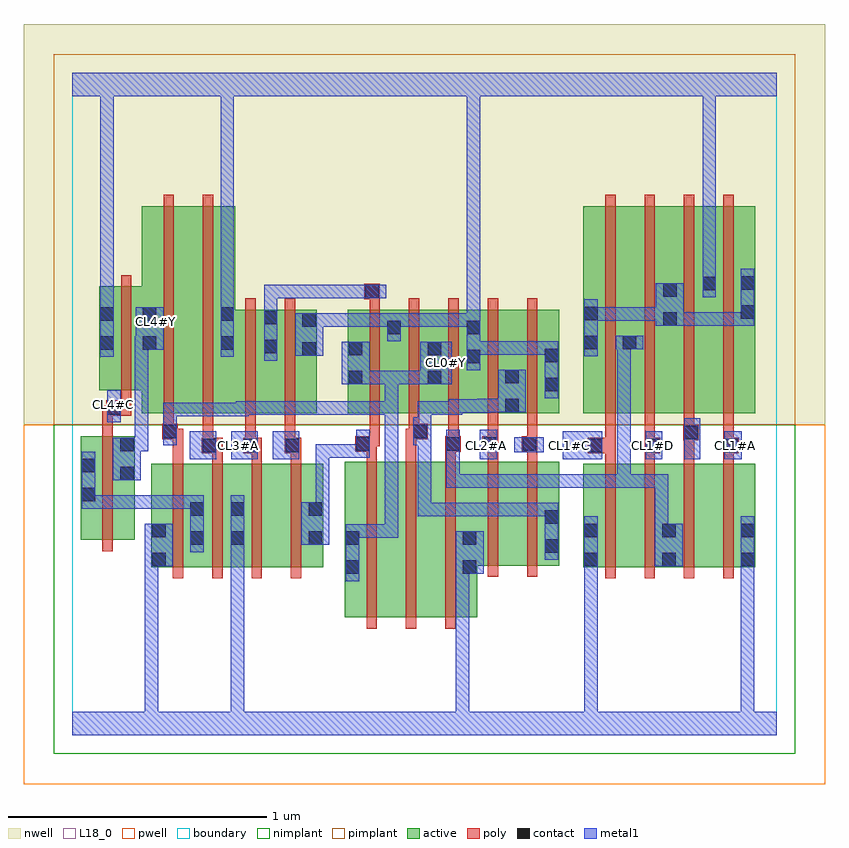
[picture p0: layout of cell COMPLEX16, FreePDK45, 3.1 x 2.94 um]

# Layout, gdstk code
import gdstk
lib = gdstk.Library(unit=1e-6, precision=1e-09)
def R(c, l, rs):  # rectangles x0, y0, x1, y1
    for r in rs: c.add(gdstk.rectangle(r[:2], r[2:], *l))
def A(c, l, x, y, w, h, nx, ny, dx, dy):  # array of equal rectangles
    R(c, l, [(x+i*dx, y+j*dy, x+i*dx+w, y+j*dy+h) for i in range(nx) for j in range(ny)])
active = (1, 0)
pwell = (2, 0)
nwell = (3, 0)
nimplant = (4, 0)
pimplant = (5, 0)
poly = (9, 0)
contact = (10, 0)
metal1 = (11, 0)
L18_0 = (18, 0)
boundary = (235, 0)

complex16 = lib.new_cell('COMPLEX16')
R(complex16, active, [(1.052,0.456,1.232,1.056), (1.232,0.456,1.384,1.056), (1.384,0.456,1.564,1.056), (1.504,0.456,1.564,0.952), (1.052,0.556,1.112,1.056), (0.304,0.65,0.512,1.05), (0.304,0.65,0.364,0.948), (0.452,0.65,0.512,1.05), (0.452,0.65,0.668,1.05), (0.608,0.65,0.668,1.05), (0.608,0.65,0.788,1.05), (0.788,0.65,0.968,1.05), (0.908,0.65,0.968,1.05), (1.974,0.65,2.034,1.05), (1.974,0.65,2.154,1.05), (2.154,0.65,2.334,1.05), (2.274,0.65,2.334,1.05), (2.274,0.65,2.458,1.05), (2.458,0.65,2.638,1.05), (2.578,0.65,2.638,1.05), (1.504,0.656,1.7,1.056), (1.7,0.656,1.88,1.056), (1.82,0.656,1.88,1.056), (0.032,0.756,0.092,1.156), (0.032,0.756,0.24,1.156), (0.18,0.756,0.24,1.156), (0.268,1.244,0.448,2.044), (0.448,1.244,0.628,2.044), (0.568,1.244,0.628,2.044), (0.568,1.244,0.796,1.644), (0.736,1.244,0.796,1.644), (0.736,1.244,0.944,1.644), (0.884,1.244,0.944,1.644), (1.064,1.244,1.124,1.644), (1.064,1.244,1.272,1.644), (1.212,1.244,1.272,1.644), (1.212,1.244,1.428,1.644), (1.368,1.244,1.428,1.644), (1.368,1.244,1.58,1.644), (1.52,1.244,1.58,1.644), (1.52,1.244,1.728,1.644), (1.668,1.244,1.728,1.644), (1.668,1.244,1.88,1.644), (1.82,1.244,1.88,1.644), (1.974,1.244,2.034,2.044), (1.974,1.244,2.182,2.044), (2.122,1.244,2.182,2.044), (2.122,1.244,2.338,2.044), (2.278,1.244,2.338,2.044), (2.278,1.244,2.49,2.044), (2.43,1.244,2.49,2.044), (2.43,1.244,2.638,2.044), (2.578,1.244,2.638,2.044), (0.104,1.334,0.164,1.734), (0.104,1.334,0.328,1.734), (0.268,1.334,0.328,2.044)])
R(complex16, pwell, [(-0.188,-0.188,2.908,1.2)])
R(complex16, nwell, [(-0.188,1.2,2.908,2.748)])
R(complex16, nimplant, [(-0.072,-0.072,2.792,1.2)])
R(complex16, pimplant, [(-0.072,1.2,2.792,2.632)])
A(complex16, poly, 1.136, 0.412, 0.04, 0.688, 3, 1, 0.152, 0)
A(complex16, poly, 0.388, 0.606, 0.04, 0.488, 4, 1, 0.152, 0)
A(complex16, poly, 2.058, 0.606, 0.04, 0.488, 4, 1, 0.152, 0)
A(complex16, poly, 0.54, 1.054, 0.04, 0.076, 3, 1, 0.152, 0)
A(complex16, poly, 1.452, 1.116, 0.04, 0.124, 3, 1, 0.152, 0)
A(complex16, poly, 1.148, 1.2, 0.04, 0.488, 5, 1, 0.152, 0)
A(complex16, poly, 2.058, 1.2, 0.04, 0.888, 4, 1, 0.152, 0)
R(complex16, poly, [(1.604,0.612,1.644,1.1), (1.756,0.612,1.796,1.1), (0.116,0.712,0.156,1.2), (0.388,1.054,0.428,1.184), (2.058,1.054,2.098,1.13), (2.21,1.054,2.25,1.13), (2.362,1.054,2.402,1.18), (2.514,1.054,2.554,1.13), (1.136,1.06,1.176,1.136), (1.288,1.06,1.328,1.184), (1.44,1.06,1.48,1.136), (1.604,1.06,1.644,1.136), (1.756,1.06,1.796,1.136), (0.5,1.09,0.58,1.15), (0.66,1.09,0.732,1.15), (0.82,1.09,0.884,1.15), (1.99,1.09,2.098,1.15), (2.058,1.09,2.098,1.13), (2.058,1.09,2.098,1.13), (2.21,1.09,2.25,1.13), (2.21,1.09,2.25,1.13), (2.21,1.09,2.27,1.15), (2.514,1.09,2.574,1.15), (1.092,1.096,1.176,1.156), (1.44,1.096,1.5,1.156), (1.584,1.096,1.644,1.156), (1.604,1.096,1.644,1.136), (1.604,1.096,1.644,1.136), (1.736,1.096,1.796,1.156), (1.756,1.096,1.796,1.136), (1.756,1.096,1.796,1.136), (0.504,1.11,0.544,1.24), (0.504,1.11,0.544,1.15), (0.504,1.11,0.544,1.15), (0.668,1.11,0.708,1.24), (0.668,1.11,0.708,1.15), (0.668,1.11,0.708,1.15), (0.82,1.11,0.86,1.24), (0.82,1.11,0.86,1.15), (0.82,1.11,0.86,1.15), (2.058,1.11,2.098,1.24), (2.21,1.11,2.25,1.24), (2.514,1.11,2.554,1.24), (2.514,1.11,2.554,1.15), (2.514,1.11,2.554,1.15), (1.136,1.116,1.176,1.156), (1.136,1.116,1.188,1.156), (1.148,1.116,1.188,1.24), (1.452,1.116,1.492,1.156), (1.452,1.116,1.492,1.156), (2.36,1.14,2.42,1.2), (0.346,1.144,0.406,1.204), (0.366,1.144,0.406,1.184), (0.366,1.144,0.428,1.184), (1.288,1.144,1.34,1.184), (1.3,1.144,1.34,1.184), (1.3,1.144,1.372,1.204), (0.116,1.16,0.156,1.274), (2.362,1.16,2.402,1.2), (2.362,1.16,2.402,1.2), (2.362,1.16,2.402,1.24), (0.352,1.164,0.392,1.24), (1.3,1.164,1.34,1.24), (0.352,1.2,0.392,2.088), (0.504,1.2,0.544,2.088), (0.668,1.2,0.708,1.688), (0.82,1.2,0.86,1.688), (0.116,1.234,0.17,1.274), (0.13,1.234,0.17,1.274), (0.13,1.234,0.228,1.294), (0.188,1.254,0.228,1.33), (0.188,1.29,0.228,1.778), (1.148,1.648,1.188,1.724), (1.128,1.684,1.188,1.744)])
A(complex16, contact, 0.504, 1.094, 0.052, 0.052, 3, 1, 0.16, 0)
R(complex16, contact, [(1.056,0.624,1.108,0.676), (1.508,0.624,1.56,0.676), (0.308,0.654,0.36,0.706), (1.978,0.654,2.03,0.706), (2.278,0.654,2.33,0.706), (2.582,0.654,2.634,0.706), (1.824,0.706,1.876,0.758), (0.456,0.736,0.508,0.788), (0.612,0.736,0.664,0.788), (0.912,0.736,0.964,0.788), (1.056,0.736,1.108,0.788), (1.508,0.736,1.56,0.788), (0.308,0.766,0.36,0.818), (1.978,0.766,2.03,0.818), (2.278,0.766,2.33,0.818), (2.582,0.766,2.634,0.818), (1.824,0.818,1.876,0.87), (0.456,0.848,0.508,0.9), (0.612,0.848,0.664,0.9), (0.912,0.848,0.964,0.9), (0.036,0.904,0.088,0.956), (0.184,0.986,0.236,1.038), (0.036,1.016,0.088,1.068), (1.994,1.094,2.046,1.146), (2.214,1.094,2.266,1.146), (2.518,1.094,2.57,1.146), (0.184,1.098,0.236,1.15), (1.096,1.1,1.148,1.152), (1.444,1.1,1.496,1.152), (1.588,1.1,1.64,1.152), (1.74,1.1,1.792,1.152), (2.364,1.144,2.416,1.196), (0.35,1.148,0.402,1.2), (1.316,1.148,1.368,1.2), (0.134,1.238,0.186,1.29), (1.672,1.248,1.724,1.3), (1.824,1.33,1.876,1.382), (1.068,1.356,1.12,1.408), (1.372,1.356,1.424,1.408), (1.672,1.36,1.724,1.412), (1.524,1.438,1.576,1.49), (1.824,1.442,1.876,1.494), (0.888,1.466,0.94,1.518), (1.068,1.468,1.12,1.52), (1.372,1.468,1.424,1.52), (0.74,1.476,0.792,1.528), (0.108,1.49,0.16,1.542), (0.272,1.49,0.324,1.542), (0.572,1.49,0.624,1.542), (1.978,1.492,2.03,1.544), (2.126,1.492,2.178,1.544), (1.216,1.55,1.268,1.602), (1.524,1.55,1.576,1.602), (0.888,1.578,0.94,1.63), (2.282,1.582,2.334,1.634), (0.74,1.588,0.792,1.64), (0.108,1.602,0.16,1.654), (0.272,1.602,0.324,1.654), (0.572,1.602,0.624,1.654), (1.978,1.604,2.03,1.656), (2.582,1.61,2.634,1.662), (1.132,1.688,1.184,1.74), (2.282,1.694,2.334,1.746), (2.434,1.72,2.486,1.772), (2.582,1.722,2.634,1.774)])
A(complex16, metal1, 1.454, 0.846, 0.052, 0.052, 3, 1, 0.11, 0)
A(complex16, metal1, 0.454, 1.066, 0.102, 0.108, 3, 1, 0.16, 0)
R(complex16, metal1, [(0,0,2.72,0.092), (0.28,0.04,0.332,0.092), (0.28,0.04,0.332,0.092), (0.28,0.04,0.332,0.092), (0.28,0.04,0.332,0.092), (0.28,0.04,0.332,0.092), (0.28,0.04,0.332,0.092), (0.28,0.04,0.332,0.092), (0.28,0.04,0.332,0.092), (0.28,0.04,0.332,0.092), (0.28,0.04,0.332,0.092), (0.28,0.04,0.332,0.706), (0.612,0.04,0.664,0.092), (0.612,0.04,0.664,0.092), (0.612,0.04,0.664,0.092), (0.612,0.04,0.664,0.092), (0.612,0.04,0.664,0.092), (0.612,0.04,0.664,0.092), (0.612,0.04,0.664,0.092), (0.612,0.04,0.664,0.092), (0.612,0.04,0.664,0.76), (1.48,0.04,1.532,0.092), (1.48,0.04,1.532,0.092), (1.48,0.04,1.532,0.092), (1.48,0.04,1.532,0.092), (1.48,0.04,1.532,0.092), (1.48,0.04,1.532,0.092), (1.48,0.04,1.532,0.092), (1.48,0.04,1.532,0.092), (1.48,0.04,1.532,0.676), (1.978,0.04,2.03,0.092), (1.978,0.04,2.03,0.092), (1.978,0.04,2.03,0.092), (1.978,0.04,2.03,0.092), (1.978,0.04,2.03,0.092), (1.978,0.04,2.03,0.092), (1.978,0.04,2.03,0.678), (2.582,0.04,2.634,0.092), (2.582,0.04,2.634,0.092), (2.582,0.04,2.634,0.092), (2.582,0.04,2.634,0.092), (2.582,0.04,2.634,0.092), (2.582,0.04,2.634,0.092), (2.582,0.04,2.634,0.678), (1.056,0.596,1.108,0.816), (1.48,0.624,1.588,0.788), (1.978,0.626,2.03,0.678), (1.978,0.626,2.03,0.678), (1.978,0.626,2.03,0.678), (1.978,0.626,2.03,0.678), (1.978,0.626,2.03,0.678), (1.978,0.626,2.03,0.678), (1.978,0.626,2.03,0.846), (2.582,0.626,2.634,0.678), (2.582,0.626,2.634,0.678), (2.582,0.626,2.634,0.678), (2.582,0.626,2.634,0.678), (2.582,0.626,2.634,0.678), (2.582,0.626,2.634,0.678), (2.582,0.626,2.634,0.846), (0.28,0.654,0.332,0.706), (0.28,0.654,0.332,0.706), (0.28,0.654,0.388,0.818), (2.25,0.654,2.358,0.818), (1.824,0.678,1.876,0.898), (0.456,0.708,0.508,0.928), (0.612,0.708,0.664,0.76), (0.612,0.708,0.664,0.76), (0.612,0.708,0.664,0.76), (0.612,0.708,0.664,0.76), (0.612,0.708,0.664,0.928), (0.884,0.736,0.992,0.9), (1.056,0.764,1.108,0.816), (1.056,0.764,1.108,0.816), (1.056,0.764,1.258,0.816), (1.206,0.764,1.258,0.816), (1.206,0.764,1.258,1.29), (2.25,0.766,2.302,1.008), (1.334,0.846,1.386,0.898), (1.334,0.846,1.506,0.898), (1.334,0.846,1.386,1.228), (1.454,0.846,1.506,0.898), (1.454,0.846,1.506,0.898), (1.454,0.846,1.616,0.898), (1.564,0.846,1.726,0.898), (1.674,0.846,1.726,0.898), (1.674,0.846,1.726,0.898), (1.674,0.846,1.876,0.898), (0.94,0.848,0.992,1.124), (0.036,0.876,0.088,0.928), (0.036,0.876,0.088,0.928), (0.036,0.876,0.088,1.096), (0.036,0.876,0.198,0.928), (0.146,0.876,0.198,0.928), (0.146,0.876,0.398,0.928), (0.346,0.876,0.398,0.928), (0.346,0.876,0.398,0.928), (0.346,0.876,0.398,0.928), (0.346,0.876,0.508,0.928), (1.444,0.956,1.616,1.008), (1.444,0.956,1.496,1.124), (1.564,0.956,1.616,1.008), (1.564,0.956,1.726,1.008), (1.674,0.956,1.726,1.008), (1.674,0.956,1.726,1.008), (1.674,0.956,1.726,1.008), (1.674,0.956,1.836,1.008), (1.784,0.956,1.836,1.008), (1.784,0.956,1.836,1.008), (1.784,0.956,1.836,1.008), (1.784,0.956,2.046,1.008), (1.994,0.956,2.046,1.008), (1.994,0.956,2.156,1.008), (2.104,0.956,2.156,1.008), (2.104,0.956,2.156,1.008), (2.104,0.956,2.156,1.008), (2.104,0.956,2.156,1.008), (2.104,0.956,2.156,1.008), (2.104,0.956,2.302,1.008), (2.104,0.956,2.156,1.544), (2.25,0.956,2.302,1.008), (0.156,0.986,0.264,1.15), (1.574,1.066,1.64,1.18), (1.894,1.066,2.046,1.174), (2.214,1.066,2.278,1.174), (2.364,1.066,2.426,1.224), (2.518,1.066,2.586,1.174), (0.94,1.072,0.992,1.124), (0.94,1.072,1.148,1.124), (1.096,1.072,1.148,1.124), (1.096,1.072,1.148,1.124), (1.096,1.072,1.148,1.18), (1.444,1.072,1.496,1.124), (1.444,1.072,1.496,1.18), (1.706,1.094,1.82,1.152), (0.212,1.098,0.264,1.15), (0.212,1.098,0.292,1.15), (0.24,1.098,0.292,1.542), (0.35,1.12,0.402,1.284), (1.316,1.12,1.368,1.228), (1.316,1.176,1.386,1.228), (1.334,1.176,1.386,1.228), (1.334,1.176,1.386,1.228), (1.334,1.176,1.386,1.29), (0.134,1.21,0.186,1.334), (0.35,1.232,0.514,1.284), (0.462,1.232,0.514,1.284), (0.462,1.232,0.514,1.284), (0.462,1.232,0.514,1.284), (0.462,1.232,0.682,1.284), (0.63,1.232,0.682,1.284), (0.63,1.232,0.682,1.284), (0.63,1.232,0.682,1.29), (0.63,1.238,0.802,1.29), (0.75,1.238,0.802,1.29), (0.75,1.238,0.802,1.29), (0.75,1.238,0.802,1.29), (0.75,1.238,0.986,1.29), (0.934,1.238,0.986,1.29), (0.934,1.238,0.986,1.29), (0.934,1.238,0.986,1.29), (0.934,1.238,1.258,1.29), (1.206,1.238,1.258,1.29), (1.206,1.238,1.258,1.29), (1.206,1.238,1.258,1.29), (1.206,1.238,1.258,1.29), (1.206,1.238,1.258,1.29), (1.206,1.238,1.258,1.408), (1.334,1.238,1.506,1.29), (1.454,1.238,1.506,1.29), (1.454,1.238,1.506,1.29), (1.454,1.238,1.506,1.29), (1.454,1.238,1.506,1.298), (1.454,1.246,1.506,1.298), (1.454,1.246,1.616,1.298), (1.564,1.246,1.616,1.3), (1.564,1.248,1.696,1.3), (1.644,1.248,1.752,1.412), (1.824,1.302,1.876,1.522), (1.04,1.356,1.148,1.52), (1.096,1.356,1.258,1.408), (1.206,1.356,1.258,1.408), (1.206,1.356,1.258,1.408), (1.206,1.356,1.258,1.408), (1.206,1.356,1.386,1.408), (1.334,1.356,1.386,1.408), (1.334,1.356,1.396,1.408), (1.344,1.356,1.396,1.408), (1.344,1.356,1.396,1.408), (1.344,1.356,1.466,1.52), (1.524,1.41,1.576,1.63), (0.74,1.448,0.792,1.668), (0.108,1.462,0.16,1.682), (0.572,1.462,0.624,1.682), (1.978,1.464,2.03,1.684), (0.86,1.466,0.968,1.63), (1.524,1.47,1.616,1.522), (1.564,1.47,1.616,1.522), (1.564,1.47,1.726,1.522), (1.674,1.47,1.726,1.522), (1.674,1.47,1.726,1.522), (1.674,1.47,1.726,1.522), (1.674,1.47,1.876,1.522), (0.24,1.49,0.292,1.542), (0.24,1.49,0.292,1.542), (0.24,1.49,0.296,1.542), (0.244,1.49,0.296,1.542), (0.244,1.49,0.296,1.542), (0.244,1.49,0.296,1.542), (0.244,1.49,0.296,1.542), (0.244,1.49,0.296,1.542), (0.244,1.49,0.352,1.654), (2.098,1.492,2.206,1.544), (1.216,1.522,1.268,1.63), (0.916,1.578,1.102,1.63), (1.05,1.578,1.102,1.63), (1.05,1.578,1.102,1.63), (1.05,1.578,1.102,1.63), (1.05,1.578,1.268,1.63), (1.216,1.578,1.378,1.63), (1.326,1.578,1.378,1.63), (1.326,1.578,1.378,1.63), (1.326,1.578,1.378,1.63), (1.326,1.578,1.496,1.63), (1.444,1.578,1.496,1.63), (1.444,1.578,1.576,1.63), (1.524,1.578,1.576,1.63), (1.524,1.578,1.576,1.63), (1.524,1.578,1.576,2.52), (2.254,1.582,2.362,1.746), (2.31,1.582,2.362,1.634), (2.31,1.582,2.362,1.634), (2.31,1.582,2.362,1.634), (2.31,1.582,2.362,1.634), (2.31,1.582,2.362,1.634), (2.31,1.582,2.362,1.634), (2.31,1.582,2.524,1.634), (2.472,1.582,2.524,1.634), (2.472,1.582,2.634,1.634), (2.582,1.582,2.634,1.634), (2.582,1.582,2.634,1.634), (2.582,1.582,2.634,1.802), (1.978,1.602,2.03,1.654), (1.978,1.602,2.03,1.654), (1.978,1.602,2.192,1.654), (2.14,1.602,2.192,1.654), (2.14,1.602,2.192,1.654), (2.14,1.602,2.192,1.654), (2.14,1.602,2.306,1.654), (0.74,1.616,0.792,1.74), (0.108,1.63,0.16,2.52), (0.572,1.63,0.624,2.52), (0.74,1.688,0.792,1.74), (0.74,1.688,0.792,1.74), (0.74,1.688,0.792,1.74), (0.74,1.688,0.992,1.74), (0.94,1.688,0.992,1.74), (0.94,1.688,0.992,1.74), (0.94,1.688,0.992,1.74), (0.94,1.688,1.156,1.74), (1.104,1.688,1.212,1.74), (2.434,1.692,2.486,1.8), (2.434,1.748,2.486,1.8), (2.434,1.748,2.486,1.8), (2.434,1.748,2.486,1.8), (2.434,1.748,2.486,1.8), (2.434,1.748,2.486,2.52), (0,2.468,2.72,2.56), (0.108,2.468,0.16,2.52), (0.108,2.468,0.16,2.52), (0.108,2.468,0.16,2.52), (0.108,2.468,0.16,2.52), (0.108,2.468,0.16,2.52), (0.108,2.468,0.16,2.52), (0.108,2.468,0.16,2.52), (0.108,2.468,0.16,2.52), (0.108,2.468,0.16,2.52), (0.108,2.468,0.16,2.52), (0.108,2.468,0.16,2.52), (0.108,2.468,0.16,2.52), (0.108,2.468,0.16,2.52), (0.108,2.468,0.16,2.52), (0.108,2.468,0.16,2.52), (0.108,2.468,0.16,2.52), (0.572,2.468,0.624,2.52), (0.572,2.468,0.624,2.52), (0.572,2.468,0.624,2.52), (0.572,2.468,0.624,2.52), (0.572,2.468,0.624,2.52), (0.572,2.468,0.624,2.52), (0.572,2.468,0.624,2.52), (0.572,2.468,0.624,2.52), (1.524,2.468,1.576,2.52), (1.524,2.468,1.576,2.52), (1.524,2.468,1.576,2.52), (1.524,2.468,1.576,2.52), (1.524,2.468,1.576,2.52), (1.524,2.468,1.576,2.52), (1.524,2.468,1.576,2.52), (1.524,2.468,1.576,2.52), (1.524,2.468,1.576,2.52), (1.524,2.468,1.576,2.52), (1.524,2.468,1.576,2.52), (1.524,2.468,1.576,2.52), (1.524,2.468,1.576,2.52), (1.524,2.468,1.576,2.52), (2.434,2.468,2.486,2.52), (2.434,2.468,2.486,2.52), (2.434,2.468,2.486,2.52), (2.434,2.468,2.486,2.52)])
A(complex16, L18_0, 0.454, 1.066, 0.102, 0.108, 3, 1, 0.16, 0)
A(complex16, L18_0, 0.454, 1.094, 0.052, 0.052, 3, 1, 0.16, 0)
A(complex16, L18_0, 1.574, 1.094, 0.052, 0.052, 3, 1, 0.16, 0)
A(complex16, L18_0, 2.214, 1.094, 0.052, 0.052, 3, 1, 0.16, 0)
R(complex16, L18_0, [(0,0,2.72,0.092), (0.28,0.04,0.332,0.092), (0.28,0.04,0.332,0.092), (0.28,0.04,0.332,0.092), (0.28,0.04,0.332,0.092), (0.28,0.04,0.332,0.092), (0.28,0.04,0.332,0.092), (0.28,0.04,0.332,0.092), (0.28,0.04,0.332,0.092), (0.28,0.04,0.332,0.092), (0.28,0.04,0.332,0.092), (0.28,0.04,0.332,0.706), (0.612,0.04,0.664,0.092), (0.612,0.04,0.664,0.092), (0.612,0.04,0.664,0.092), (0.612,0.04,0.664,0.092), (0.612,0.04,0.664,0.092), (0.612,0.04,0.664,0.092), (0.612,0.04,0.664,0.092), (0.612,0.04,0.664,0.092), (0.612,0.04,0.664,0.76), (1.48,0.04,1.532,0.092), (1.48,0.04,1.532,0.092), (1.48,0.04,1.532,0.092), (1.48,0.04,1.532,0.092), (1.48,0.04,1.532,0.092), (1.48,0.04,1.532,0.092), (1.48,0.04,1.532,0.092), (1.48,0.04,1.532,0.092), (1.48,0.04,1.532,0.676), (1.978,0.04,2.03,0.092), (1.978,0.04,2.03,0.092), (1.978,0.04,2.03,0.092), (1.978,0.04,2.03,0.092), (1.978,0.04,2.03,0.092), (1.978,0.04,2.03,0.092), (1.978,0.04,2.03,0.678), (2.582,0.04,2.634,0.092), (2.582,0.04,2.634,0.092), (2.582,0.04,2.634,0.092), (2.582,0.04,2.634,0.092), (2.582,0.04,2.634,0.092), (2.582,0.04,2.634,0.092), (2.582,0.04,2.634,0.678), (1.056,0.596,1.108,0.816), (1.48,0.624,1.588,0.788), (1.978,0.626,2.03,0.846), (1.978,0.626,2.03,0.678), (1.978,0.626,2.03,0.678), (1.978,0.626,2.03,0.678), (1.978,0.626,2.03,0.678), (1.978,0.626,2.03,0.678), (1.978,0.626,2.03,0.678), (2.582,0.626,2.634,0.846), (2.582,0.626,2.634,0.678), (2.582,0.626,2.634,0.678), (2.582,0.626,2.634,0.678), (2.582,0.626,2.634,0.678), (2.582,0.626,2.634,0.678), (2.582,0.626,2.634,0.678), (0.28,0.654,0.332,0.706), (0.28,0.654,0.332,0.706), (0.28,0.654,0.388,0.818), (0.612,0.708,0.664,0.928), (0.612,0.708,0.664,0.76), (0.612,0.708,0.664,0.76), (0.612,0.708,0.664,0.76), (0.612,0.708,0.664,0.76), (1.056,0.764,1.108,0.816), (1.056,0.764,1.108,0.816), (1.056,0.764,1.258,0.816), (1.206,0.764,1.258,0.816), (1.206,0.764,1.258,1.29), (0.156,0.986,0.264,1.15), (1.574,1.066,1.64,1.18), (1.894,1.066,2.046,1.174), (2.214,1.066,2.278,1.174), (2.364,1.066,2.426,1.224), (2.518,1.066,2.586,1.174), (1.706,1.094,1.82,1.152), (0.212,1.098,0.264,1.15), (0.212,1.098,0.292,1.15), (0.24,1.098,0.292,1.542), (0.35,1.12,0.402,1.284), (0.134,1.21,0.186,1.334), (0.35,1.232,0.514,1.284), (0.462,1.232,0.514,1.284), (0.462,1.232,0.514,1.284), (0.462,1.232,0.514,1.284), (0.462,1.232,0.682,1.284), (0.63,1.232,0.682,1.284), (0.63,1.232,0.682,1.284), (0.63,1.232,0.682,1.29), (0.63,1.238,0.802,1.29), (0.75,1.238,0.802,1.29), (0.75,1.238,0.802,1.29), (0.75,1.238,0.802,1.29), (0.75,1.238,0.986,1.29), (0.934,1.238,0.986,1.29), (0.934,1.238,0.986,1.29), (0.934,1.238,0.986,1.29), (0.934,1.238,1.258,1.29), (1.206,1.238,1.258,1.29), (1.206,1.238,1.258,1.29), (1.206,1.238,1.258,1.29), (1.206,1.238,1.258,1.29), (1.206,1.238,1.258,1.29), (1.206,1.238,1.258,1.408), (0.134,1.254,0.186,1.306), (1.824,1.302,1.876,1.522), (1.04,1.356,1.148,1.52), (1.096,1.356,1.258,1.408), (1.206,1.356,1.258,1.408), (1.206,1.356,1.258,1.408), (1.206,1.356,1.258,1.408), (1.206,1.356,1.386,1.408), (1.334,1.356,1.386,1.408), (1.334,1.356,1.396,1.408), (1.344,1.356,1.396,1.408), (1.344,1.356,1.396,1.408), (1.344,1.356,1.466,1.52), (1.524,1.41,1.576,1.63), (1.414,1.414,1.466,1.466), (0.108,1.462,0.16,1.682), (0.572,1.462,0.624,1.682), (0.86,1.466,0.968,1.63), (1.524,1.47,1.616,1.522), (1.564,1.47,1.616,1.522), (1.564,1.47,1.726,1.522), (1.674,1.47,1.726,1.522), (1.674,1.47,1.726,1.522), (1.674,1.47,1.726,1.522), (1.674,1.47,1.876,1.522), (0.24,1.49,0.292,1.542), (0.24,1.49,0.292,1.542), (0.24,1.49,0.296,1.542), (0.244,1.49,0.296,1.542), (0.244,1.49,0.296,1.542), (0.244,1.49,0.296,1.542), (0.244,1.49,0.296,1.542), (0.244,1.49,0.296,1.542), (0.244,1.49,0.352,1.654), (1.216,1.522,1.268,1.63), (0.294,1.574,0.346,1.626), (0.916,1.578,1.102,1.63), (1.05,1.578,1.102,1.63), (1.05,1.578,1.102,1.63), (1.05,1.578,1.102,1.63), (1.05,1.578,1.268,1.63), (1.216,1.578,1.378,1.63), (1.326,1.578,1.378,1.63), (1.326,1.578,1.378,1.63), (1.326,1.578,1.378,1.63), (1.326,1.578,1.496,1.63), (1.444,1.578,1.496,1.63), (1.444,1.578,1.576,1.63), (1.524,1.578,1.576,1.63), (1.524,1.578,1.576,1.63), (1.524,1.578,1.576,2.52), (0.108,1.63,0.16,2.52), (0.572,1.63,0.624,2.52), (2.434,1.692,2.486,1.8), (2.434,1.748,2.486,1.8), (2.434,1.748,2.486,1.8), (2.434,1.748,2.486,1.8), (2.434,1.748,2.486,1.8), (2.434,1.748,2.486,2.52), (0,2.468,2.72,2.56), (0.108,2.468,0.16,2.52), (0.108,2.468,0.16,2.52), (0.108,2.468,0.16,2.52), (0.108,2.468,0.16,2.52), (0.108,2.468,0.16,2.52), (0.108,2.468,0.16,2.52), (0.108,2.468,0.16,2.52), (0.108,2.468,0.16,2.52), (0.108,2.468,0.16,2.52), (0.108,2.468,0.16,2.52), (0.108,2.468,0.16,2.52), (0.108,2.468,0.16,2.52), (0.108,2.468,0.16,2.52), (0.108,2.468,0.16,2.52), (0.108,2.468,0.16,2.52), (0.108,2.468,0.16,2.52), (0.572,2.468,0.624,2.52), (0.572,2.468,0.624,2.52), (0.572,2.468,0.624,2.52), (0.572,2.468,0.624,2.52), (0.572,2.468,0.624,2.52), (0.572,2.468,0.624,2.52), (0.572,2.468,0.624,2.52), (0.572,2.468,0.624,2.52), (1.524,2.468,1.576,2.52), (1.524,2.468,1.576,2.52), (1.524,2.468,1.576,2.52), (1.524,2.468,1.576,2.52), (1.524,2.468,1.576,2.52), (1.524,2.468,1.576,2.52), (1.524,2.468,1.576,2.52), (1.524,2.468,1.576,2.52), (1.524,2.468,1.576,2.52), (1.524,2.468,1.576,2.52), (1.524,2.468,1.576,2.52), (1.524,2.468,1.576,2.52), (1.524,2.468,1.576,2.52), (1.524,2.468,1.576,2.52), (2.434,2.468,2.486,2.52), (2.434,2.468,2.486,2.52), (2.434,2.468,2.486,2.52), (2.434,2.468,2.486,2.52)])
R(complex16, boundary, [(0,0,2.72,2.56)])
complex16.add(gdstk.Label('CL0#Y', (1.44,1.44), layer=11, texttype=0))
complex16.add(gdstk.Label('CL1#A', (2.56,1.12), layer=11, texttype=0))
complex16.add(gdstk.Label('CL1#B', (2.4,1.12), layer=11, texttype=0))
complex16.add(gdstk.Label('CL1#C', (1.92,1.12), layer=11, texttype=0))
complex16.add(gdstk.Label('CL1#D', (2.24,1.12), layer=11, texttype=0))
complex16.add(gdstk.Label('CL2#A', (1.6,1.12), layer=11, texttype=0))
complex16.add(gdstk.Label('CL2#B', (1.76,1.12), layer=11, texttype=0))
complex16.add(gdstk.Label('CL3#A', (0.64,1.12), layer=11, texttype=0))
complex16.add(gdstk.Label('CL3#B', (0.8,1.12), layer=11, texttype=0))
complex16.add(gdstk.Label('CL4#A', (0.48,1.12), layer=11, texttype=0))
complex16.add(gdstk.Label('CL4#C', (0.16,1.28), layer=11, texttype=0))
complex16.add(gdstk.Label('CL4#Y', (0.32,1.6), layer=11, texttype=0))

lib.write_gds('COMPLEX16.gds')
